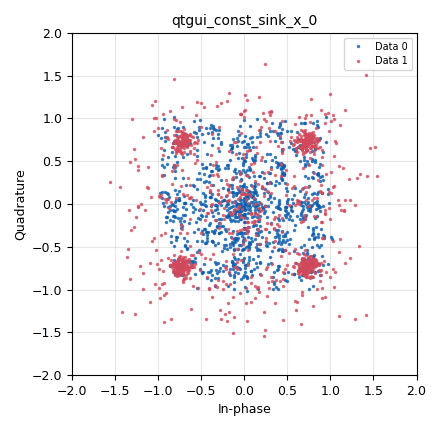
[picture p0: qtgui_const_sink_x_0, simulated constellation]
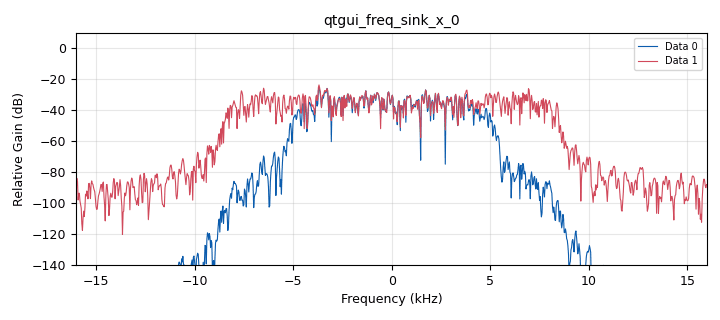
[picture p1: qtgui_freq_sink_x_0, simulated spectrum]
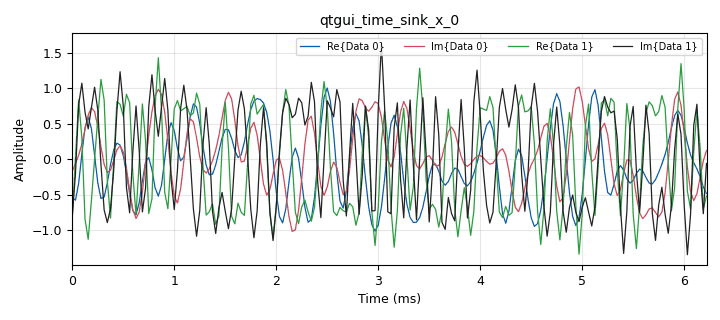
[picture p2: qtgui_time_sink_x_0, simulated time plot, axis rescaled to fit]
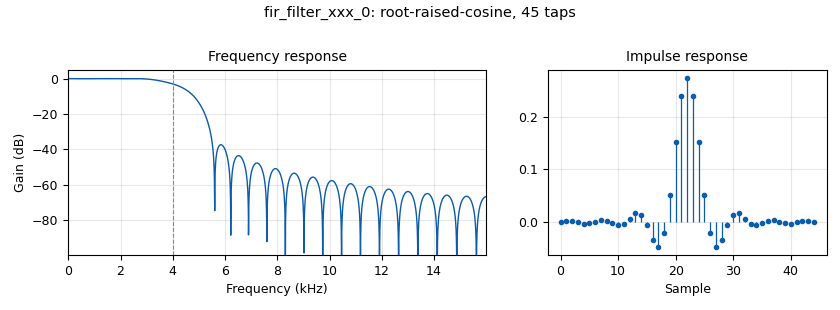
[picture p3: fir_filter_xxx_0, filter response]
options:
  parameters:
    author: Marwa Younes
    generate_options: qt_gui
    id: graph
    output_language: python
    title: QPSK
  states: {}

blocks:
- name: excess_bw
  id: variable
  parameters:
    value: '0.35'
  states: {}
- name: qpsk
  id: variable_constellation_rect
  parameters:
    const_points: '[-1-1j, -1+1j, 1+1j, 1-1j]'
    imag_sect: '2'
    real_sect: '2'
    rot_sym: '4'
    sym_map: '[0, 1, 3, 2]'
    w_imag_sect: '1'
    w_real_sect: '1'
  states: {}
- name: rrc_taps
  id: variable
  parameters:
    value: firdes.root_raised_cosine(1,samp_rate,samp_rate/sps,excess_bw,11*sps)
  states: {}
- name: samp_rate
  id: variable
  parameters:
    value: '32000'
  states: {}
- name: sps
  id: variable
  parameters:
    value: '4'
  states: {}
- name: analog_random_source_x_0
  id: analog_random_source_x
  parameters:
    max: '256'
    min: '0'
    num_samps: '10000'
    repeat: 'True'
    type: byte
  states: {}
- name: blocks_throttle_0
  id: blocks_throttle
  parameters:
    samples_per_second: samp_rate
    type: complex
  states: {}
- name: digital_constellation_modulator_0
  id: digital_constellation_modulator
  parameters:
    constellation: qpsk
    differential: 'True'
    excess_bw: '0.1'
    samples_per_symbol: '2'
  states: {}
- name: fir_filter_xxx_0
  id: fir_filter_xxx
  parameters:
    decim: '1'
    taps: rrc_taps
    type: ccc
  states: {}
- name: qtgui_const_sink_x_0
  id: qtgui_const_sink_x
  parameters:
    nconnections: '2'
    size: '1024'
    type: complex
  states: {}
- name: qtgui_freq_sink_x_0
  id: qtgui_freq_sink_x
  parameters:
    bw: samp_rate
    fc: '0'
    fftsize: '1024'
    nconnections: '2'
    type: complex
    wintype: firdes.WIN_BLACKMAN_hARRIS
  states: {}
- name: qtgui_time_sink_x_0
  id: qtgui_time_sink_x
  parameters:
    nconnections: '2'
    size: '200'
    srate: samp_rate
    type: complex
  states: {}

connections:
- [analog_random_source_x_0, '0', digital_constellation_modulator_0, '0']
- [blocks_throttle_0, '0', fir_filter_xxx_0, '0']
- [blocks_throttle_0, '0', qtgui_const_sink_x_0, '1']
- [blocks_throttle_0, '0', qtgui_freq_sink_x_0, '1']
- [blocks_throttle_0, '0', qtgui_time_sink_x_0, '1']
- [digital_constellation_modulator_0, '0', blocks_throttle_0, '0']
- [fir_filter_xxx_0, '0', qtgui_const_sink_x_0, '0']
- [fir_filter_xxx_0, '0', qtgui_freq_sink_x_0, '0']
- [fir_filter_xxx_0, '0', qtgui_time_sink_x_0, '0']

metadata:
  file_format: 1
